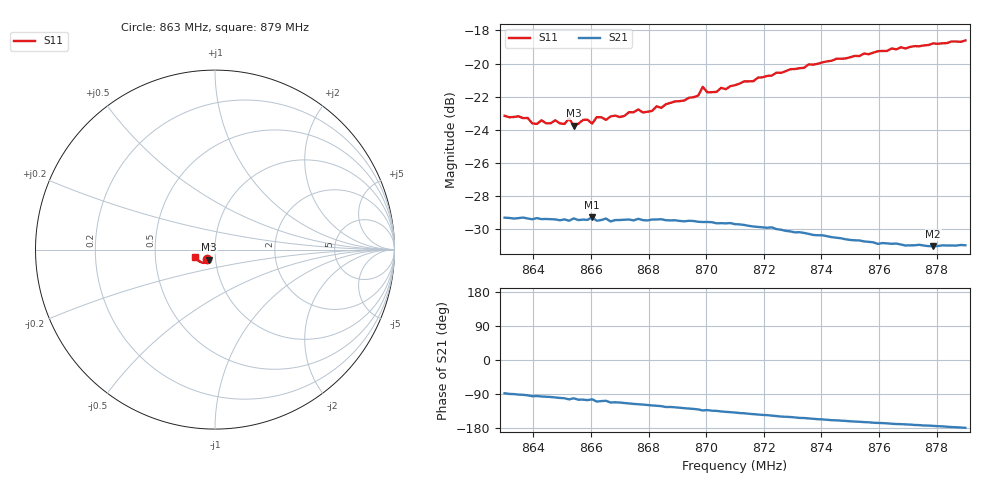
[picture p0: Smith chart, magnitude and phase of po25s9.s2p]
# HZ S RI R 50
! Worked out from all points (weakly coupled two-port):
!   101 points, 863 MHz to 879 MHz, reference 50 ohm
!   highest |S21| = -29.28 dB at 866.04 MHz (marker M1); lowest = -31.0 dB at 877.88 MHz (marker M2)
!   lowest |S11| = -23.8 dB at 865.4 MHz (marker M3), VSWR 1.14, Z = 46.5 - j5.23 ohm
!   |S11| at or under -10 dB: start of sweep to end of sweep
!   S12 and S22 are empty: the file has one direction only
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8.63e8  -0.0438 -0.0539  0.00134 -0.0342  0 0  0 0
8.638e8  -0.0416 -0.0544  -0.00187 -0.034  0 0  0 0
8.6412e8  -0.0391 -0.0528  -0.00297 -0.034  0 0  0 0
8.6428e8  -0.0386 -0.0552  -0.00368 -0.0337  0 0  0 0
8.6508e8  -0.0359 -0.055  -0.00641 -0.0332  0 0  0 0
8.6524e8  -0.0398 -0.0554  -0.00809 -0.0325  0 0  0 0
8.654e8  -0.0328 -0.0559  -0.0065 -0.0334  0 0  0 0
8.6572e8  -0.0355 -0.0575  -0.00851 -0.0327  0 0  0 0
8.6604e8  -0.0298 -0.0586  -0.00813 -0.0334  0 0  0 0
8.662e8  -0.0355 -0.059  -0.0113 -0.0315  0 0  0 0
8.6652e8  -0.0323 -0.0593  -0.0103 -0.0324  0 0  0 0
8.6764e8  -0.0362 -0.063  -0.0153 -0.0303  0 0  0 0
8.6844e8  -0.0358 -0.0641  -0.0178 -0.0288  0 0  0 0
8.6972e8  -0.0393 -0.0696  -0.0216 -0.0253  0 0  0 0
8.6988e8  -0.0491 -0.0694  -0.0227 -0.0242  0 0  0 0
8.7004e8  -0.0423 -0.07  -0.0223 -0.0246  0 0  0 0
8.7036e8  -0.0434 -0.0697  -0.023 -0.0235  0 0  0 0
8.71e8  -0.0469 -0.0721  -0.0245 -0.0216  0 0  0 0
8.7372e8  -0.0661 -0.074  -0.0275 -0.0127  0 0  0 0
8.7644e8  -0.0915 -0.063  -0.0279 -0.00585  0 0  0 0
8.7788e8  -0.1032 -0.0508  -0.0279 -0.00304  0 0  0 0
8.79e8  -0.1104 -0.04  -0.0282 -0.000482  0 0  0 0
